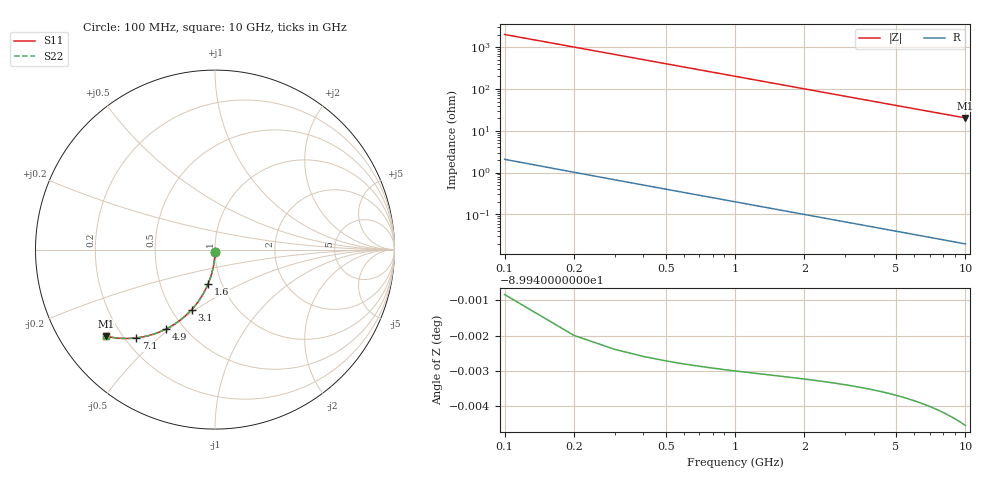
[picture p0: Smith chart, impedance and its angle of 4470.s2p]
# Hz S RI R 50.00
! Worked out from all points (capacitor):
!   100 points, 100 MHz to 10 GHz, reference 50 ohm
!   read as one part in shunt: C = 793 fF near 100 MHz
!   lowest |Z| = 20.3 ohm at 10 GHz (marker M1)
!   S11 on the Smith chart (normalised r, x): 100 MHz: 1.00, -0.02; 1.6 GHz: 0.86, -0.34; 3.1 GHz: 0.63, -0.48; 4.9 GHz: 0.40, -0.49; 7.1 GHz: 0.25, -0.43; 10 GHz: 0.14, -0.34
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1e8  -0.000146 -0.0124  0.9998 -0.0125  0.9998 -0.0125  -0.000146 -0.0124
2e8  -0.000623 -0.0248  0.9993 -0.025  0.9993 -0.025  -0.000623 -0.0248
3e8  -0.00141 -0.0372  0.9985 -0.0375  0.9985 -0.0375  -0.00141 -0.0372
4e8  -0.00251 -0.0495  0.9974 -0.0499  0.9974 -0.0499  -0.00251 -0.0495
5e8  -0.00391 -0.0618  0.996 -0.0623  0.996 -0.0623  -0.00391 -0.0618
6e8  -0.00561 -0.074  0.9943 -0.0747  0.9943 -0.0747  -0.00561 -0.074
7e8  -0.00761 -0.0862  0.9923 -0.0869  0.9923 -0.0869  -0.00761 -0.0862
9e8  -0.0125 -0.1103  0.9874 -0.1112  0.9874 -0.1112  -0.0125 -0.1103
1.2e9  -0.022 -0.1456  0.978 -0.1469  0.978 -0.1469  -0.022 -0.1456
1.6e9  -0.0384 -0.1908  0.9616 -0.1925  0.9616 -0.1925  -0.0384 -0.1908
1.8e9  -0.048 -0.2125  0.9519 -0.2144  0.9519 -0.2144  -0.048 -0.2125
2.4e9  -0.0822 -0.273  0.9177 -0.2755  0.9177 -0.2755  -0.0822 -0.273
3.1e9  -0.1299 -0.3341  0.8701 -0.3374  0.8701 -0.3374  -0.1299 -0.3341
3.4e9  -0.1522 -0.3569  0.8478 -0.3605  0.8478 -0.3605  -0.1522 -0.3569
4.1e9  -0.2068 -0.4023  0.7931 -0.4067  0.7931 -0.4067  -0.2068 -0.4023
4.9e9  -0.2711 -0.4414  0.7288 -0.4467  0.7288 -0.4467  -0.2711 -0.4414
5.1e9  -0.2872 -0.4492  0.7128 -0.4547  0.7128 -0.4547  -0.2872 -0.4492
5.9e9  -0.3501 -0.4733  0.6499 -0.4797  0.6499 -0.4797  -0.3501 -0.4733
6.7e9  -0.4097 -0.4876  0.5903 -0.4949  0.5903 -0.4949  -0.4097 -0.4876
7.1e9  -0.4379 -0.4918  0.5621 -0.4995  0.5621 -0.4995  -0.4379 -0.4918
8.4e9  -0.5213 -0.4945  0.4786 -0.5036  0.4786 -0.5036  -0.5213 -0.4945
1e10  -0.6065 -0.4825  0.3934 -0.4935  0.3934 -0.4935  -0.6065 -0.4825
